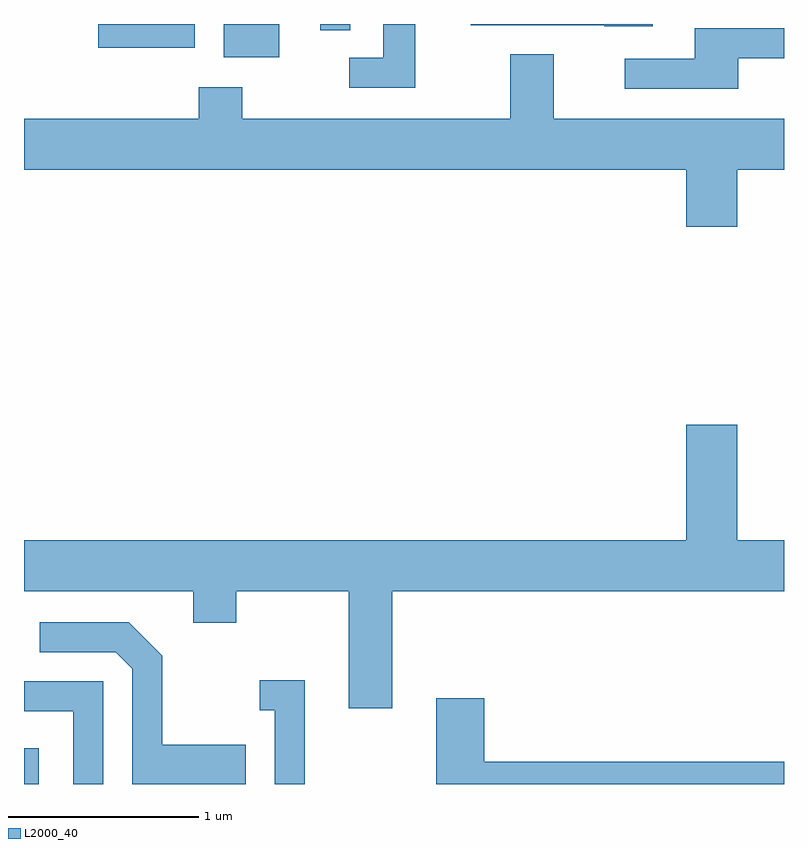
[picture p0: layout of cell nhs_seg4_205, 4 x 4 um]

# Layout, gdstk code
import gdstk
lib = gdstk.Library(unit=1e-6, precision=1e-09)
def R(c, l, rs):  # rectangles x0, y0, x1, y1
    for r in rs: c.add(gdstk.rectangle(r[:2], r[2:], *l))
def P(c, l, *ps):  # polygons
    for p in ps: c.add(gdstk.Polygon(p, *l))
L2000_40 = (2000, 40)

nhs_seg4_205 = lib.new_cell('nhs_seg4_205')
R(nhs_seg4_205, L2000_40, [(191.611,1255.982,191.689,1256.169), (192.661,1259.806,192.954,1259.982), (192.003,1259.856,192.509,1259.982), (193.171,1259.948,193.329,1259.982)])
P(nhs_seg4_205, L2000_40, [(194.919,1259.982),(193.961,1259.982),(193.961,1259.976),(194.665,1259.976),(194.665,1259.971),(194.919,1259.971)],
  [(193.669,1259.982),(193.501,1259.982),(193.501,1259.804),(193.323,1259.804),(193.323,1259.646),(193.669,1259.646)],
  [(195.369,1259.801),(195.611,1259.801),(195.611,1259.959),(195.141,1259.959),(195.141,1259.799),(194.773,1259.799),(194.773,1259.641),(195.369,1259.641)],
  [(195.364,1259.216),(195.611,1259.216),(195.611,1259.484),(194.399,1259.484),(194.399,1259.824),(194.171,1259.824),(194.171,1259.484),(192.759,1259.484),(192.759,1259.649),(192.531,1259.649),(192.531,1259.484),(191.611,1259.484),(191.611,1259.216),(195.096,1259.216),(195.096,1258.916),(195.364,1258.916)],
  [(193.549,1256.996),(195.611,1256.996),(195.611,1257.264),(195.364,1257.264),(195.364,1257.874),(195.096,1257.874),(195.096,1257.264),(191.611,1257.264),(191.611,1256.996),(192.501,1256.996),(192.501,1256.831),(192.729,1256.831),(192.729,1256.996),(193.321,1256.996),(193.321,1256.381),(193.549,1256.381)],
  [(192.779,1256.189),(192.339,1256.189),(192.339,1256.657),(192.162,1256.834),(191.693,1256.834),(191.693,1256.676),(192.094,1256.676),(192.181,1256.589),(192.181,1255.982),(192.779,1255.982)],
  [(193.089,1256.529),(192.853,1256.529),(192.853,1256.371),(192.931,1256.371),(192.931,1255.982),(193.089,1255.982)],
  [(192.029,1256.524),(191.611,1256.524),(191.611,1256.366),(191.871,1256.366),(191.871,1255.982),(192.029,1255.982)],
  [(195.611,1256.099),(194.034,1256.099),(194.034,1256.434),(193.781,1256.434),(193.781,1255.982),(195.611,1255.982)])

lib.write_gds('nhs_seg4_205.gds')
